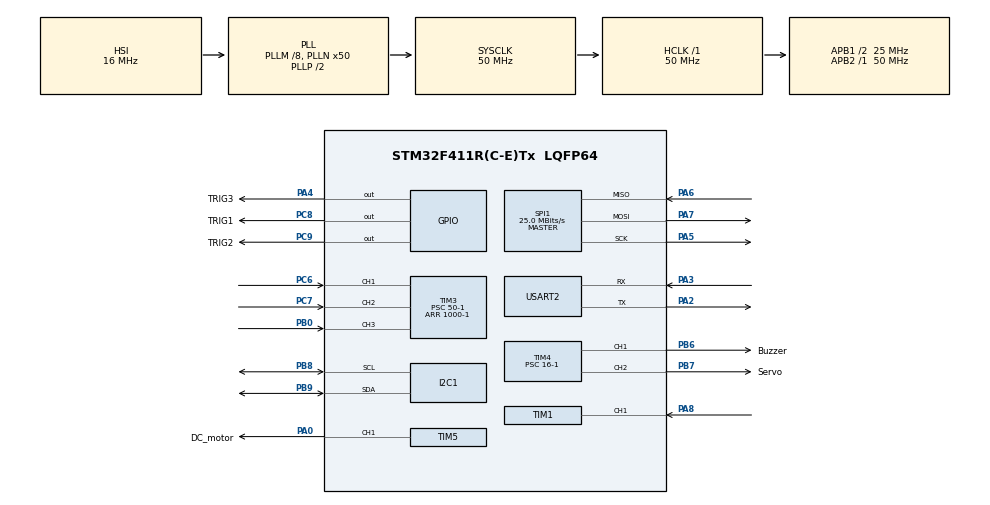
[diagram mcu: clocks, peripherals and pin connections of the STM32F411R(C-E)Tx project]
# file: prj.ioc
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Dma.Request0=TIM3_CH1/TRIG
Dma.Request1=TIM3_CH2
Dma.Request2=TIM3_CH3
Dma.TIM3_CH1/TRIG.0.Direction=DMA_PERIPH_TO_MEMORY
Dma.TIM3_CH1/TRIG.0.FIFOMode=DMA_FIFOMODE_DISABLE
Dma.TIM3_CH1/TRIG.0.Instance=DMA1_Stream4
Dma.TIM3_CH1/TRIG.0.MemDataAlignment=DMA_MDATAALIGN_HALFWORD
Dma.TIM3_CH1/TRIG.0.MemInc=DMA_MINC_ENABLE
Dma.TIM3_CH1/TRIG.0.Mode=DMA_NORMAL
Dma.TIM3_CH1/TRIG.0.PeriphDataAlignment=DMA_PDATAALIGN_HALFWORD
Dma.TIM3_CH1/TRIG.0.PeriphInc=DMA_PINC_DISABLE
Dma.TIM3_CH1/TRIG.0.Priority=DMA_PRIORITY_LOW
Dma.TIM3_CH2.1.Direction=DMA_PERIPH_TO_MEMORY
Dma.TIM3_CH2.1.FIFOMode=DMA_FIFOMODE_DISABLE
Dma.TIM3_CH2.1.Instance=DMA1_Stream5
Dma.TIM3_CH2.1.MemDataAlignment=DMA_MDATAALIGN_HALFWORD
Dma.TIM3_CH2.1.MemInc=DMA_MINC_ENABLE
Dma.TIM3_CH2.1.Mode=DMA_NORMAL
Dma.TIM3_CH2.1.PeriphDataAlignment=DMA_PDATAALIGN_HALFWORD
Dma.TIM3_CH2.1.PeriphInc=DMA_PINC_DISABLE
Dma.TIM3_CH2.1.Priority=DMA_PRIORITY_LOW
Dma.TIM3_CH3.2.Direction=DMA_PERIPH_TO_MEMORY
Dma.TIM3_CH3.2.FIFOMode=DMA_FIFOMODE_DISABLE
Dma.TIM3_CH3.2.Instance=DMA1_Stream7
Dma.TIM3_CH3.2.MemDataAlignment=DMA_MDATAALIGN_HALFWORD
Dma.TIM3_CH3.2.MemInc=DMA_MINC_ENABLE
Dma.TIM3_CH3.2.Mode=DMA_CIRCULAR
Dma.TIM3_CH3.2.PeriphDataAlignment=DMA_PDATAALIGN_HALFWORD
Dma.TIM3_CH3.2.PeriphInc=DMA_PINC_DISABLE
Dma.TIM3_CH3.2.Priority=DMA_PRIORITY_LOW
Mcu.Family=STM32F4
Mcu.Name=STM32F411R(C-E)Tx
Mcu.Package=LQFP64
NVIC.DMA1_Stream4_IRQn=true\:0\:0\:false\:false\:true\:false\:true\:true
NVIC.DMA1_Stream5_IRQn=true\:0\:0\:false\:false\:true\:false\:true\:true
NVIC.DMA1_Stream7_IRQn=true\:0\:0\:false\:false\:true\:false\:true\:true
NVIC.PriorityGroup=NVIC_PRIORITYGROUP_4
NVIC.TIM1_CC_IRQn=true\:0\:0\:false\:false\:true\:true\:true\:true
NVIC.TIM3_IRQn=true\:0\:0\:false\:false\:true\:true\:true\:true
NVIC.USART2_IRQn=true\:0\:0\:false\:false\:true\:true\:true\:true
PA0-WKUP.GPIO_Label=DC_motor
PA0-WKUP.Signal=S_TIM5_CH1
PA2.Mode=Asynchronous
PA2.Signal=USART2_TX
PA3.Mode=Asynchronous
PA3.Signal=USART2_RX
PA4.GPIO_Label=TRIG3
PA4.Signal=GPIO_Output
PA5.Mode=Full_Duplex_Master
PA5.Signal=SPI1_SCK
PA6.Mode=Full_Duplex_Master
PA6.Signal=SPI1_MISO
PA7.Mode=Full_Duplex_Master
PA7.Signal=SPI1_MOSI
PA8.Signal=S_TIM1_CH1
PB0.Signal=S_TIM3_CH3
PB6.GPIO_Label=Buzzer
PB6.Signal=S_TIM4_CH1
PB7.GPIO_Label=Servo
PB7.Signal=S_TIM4_CH2
PB8.Mode=I2C
PB8.Signal=I2C1_SCL
PB9.Mode=I2C
PB9.Signal=I2C1_SDA
PC6.Signal=S_TIM3_CH1
PC7.Signal=S_TIM3_CH2
PC8.GPIO_Label=TRIG1
PC8.Signal=GPIO_Output
PC9.GPIO_Label=TRIG2
PC9.Signal=GPIO_Output
ProjectManager.HeapSize=0x200
ProjectManager.StackSize=0x400
ProjectManager.TargetToolchain=STM32CubeIDE
RCC.48MHZClocksFreq_Value=25000000
RCC.AHBFreq_Value=50000000
RCC.APB1CLKDivider=RCC_HCLK_DIV2
RCC.APB1Freq_Value=25000000
RCC.APB1TimFreq_Value=50000000
RCC.APB2Freq_Value=50000000
RCC.APB2TimFreq_Value=50000000
RCC.CortexFreq_Value=50000000
RCC.HCLKFreq_Value=50000000
RCC.HSE_VALUE=25000000
RCC.HSI_VALUE=16000000
RCC.LSE_VALUE=32768
RCC.PLLM=8
RCC.PLLN=50
RCC.SYSCLKFreq_VALUE=50000000
RCC.SYSCLKSource=RCC_SYSCLKSOURCE_PLLCLK
RCC.VCOOutputFreq_Value=100000000
SH.S_TIM1_CH1.0=TIM1_CH1,Input_Capture1_from_TI1
SH.S_TIM3_CH1.0=TIM3_CH1,Input_Capture1_from_TI1
SH.S_TIM3_CH2.0=TIM3_CH2,Input_Capture2_from_TI2
SH.S_TIM3_CH3.0=TIM3_CH3,Input_Capture3_from_TI3
SH.S_TIM4_CH1.0=TIM4_CH1,PWM Generation1 CH1
SH.S_TIM4_CH2.0=TIM4_CH2,PWM Generation2 CH2
SH.S_TIM5_CH1.0=TIM5_CH1,PWM Generation1 CH1
SPI1.CalculateBaudRate=25.0 MBits/s
SPI1.Direction=SPI_DIRECTION_2LINES
SPI1.Mode=SPI_MODE_MASTER
SPI1.VirtualType=VM_MASTER
TIM1.Channel-Input_Capture1_from_TI1=TIM_CHANNEL_1
TIM10.Prescaler=50-1
TIM2.Prescaler=16-1
TIM3.Channel-Input_Capture1_from_TI1=TIM_CHANNEL_1
TIM3.Channel-Input_Capture2_from_TI2=TIM_CHANNEL_2
TIM3.Channel-Input_Capture3_from_TI3=TIM_CHANNEL_3
TIM3.Period=1000-1
TIM3.Prescaler=50-1
TIM4.Channel-PWM\ Generation1\ CH1=TIM_CHANNEL_1
TIM4.Channel-PWM\ Generation2\ CH2=TIM_CHANNEL_2
TIM4.Prescaler=16-1
TIM5.Channel-PWM\ Generation1\ CH1=TIM_CHANNEL_1
USART2.VirtualMode=VM_ASYNC
VP_TIM10_VS_ClockSourceINT.Mode=Enable_Timer
VP_TIM1_VS_ClockSourceINT.Mode=Internal
VP_TIM2_VS_ClockSourceINT.Mode=Internal
VP_TIM3_VS_ClockSourceINT.Mode=Internal
board=custom

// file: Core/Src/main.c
/* USER CODE BEGIN Header */
/**
  ******************************************************************************
  * @file           : main.c
  * @brief          : Main program body
  ******************************************************************************
  * @attention
  *
  * Copyright (c) 2024 STMicroelectronics.
  * All rights reserved.
  *
  * This software is licensed under terms that can be found in the LICENSE file
  * in the root directory of this software component.
  * If no LICENSE file comes with this software, it is provided AS-IS.
  *
  ******************************************************************************
  */
/* USER CODE END Header */
#include "main.h"

/* USER CODE BEGIN Includes */
#include "uart.h"
#include "stdio.h"
/* USER CODE END Includes */

I2C_HandleTypeDef hi2c1;

SPI_HandleTypeDef hspi1;

TIM_HandleTypeDef htim1;
TIM_HandleTypeDef htim2;
TIM_HandleTypeDef htim3;
TIM_HandleTypeDef htim4;
TIM_HandleTypeDef htim5;
TIM_HandleTypeDef htim10;
DMA_HandleTypeDef hdma_tim3_ch1_trig;
DMA_HandleTypeDef hdma_tim3_ch2;
DMA_HandleTypeDef hdma_tim3_ch3;

UART_HandleTypeDef huart2;

void SystemClock_Config(void);
static void MX_GPIO_Init(void);
static void MX_DMA_Init(void);
static void MX_I2C1_Init(void);
static void MX_SPI1_Init(void);
static void MX_TIM1_Init(void);
static void MX_TIM2_Init(void);
static void MX_TIM4_Init(void);
static void MX_TIM5_Init(void);
static void MX_USART2_UART_Init(void);
static void MX_TIM3_Init(void);
static void MX_TIM10_Init(void);

/* USER CODE BEGIN 0 */
void delayUs(uint16_t time){
	htim10.Instance->CNT = 0;
	while(htim10.Instance->CNT < time);
}

uint32_t IC_Val11 = 0;
uint32_t IC_Val12 = 0;
uint32_t IC_Val21 = 0;
uint32_t IC_Val22 = 0;
uint32_t IC_Val31 = 0;
uint32_t IC_Val32 = 0;
uint32_t Difference1 = 0;
uint32_t Difference2 = 0;
uint32_t Difference3 = 0;
uint8_t IsFirstCaptured1 = 0;
uint8_t IsFirstCaptured2 = 0;
uint8_t IsFirstCaptured3 = 0;
uint32_t Distance1=0;
uint32_t Distance2=0;
uint32_t Distance3=0;
uint8_t value1, value2, value3 = 0;

typedef struct value{
	uint8_t Svalue1;
	uint8_t Svalue2;
	uint8_t Svalue3;
}Svalue_t;

void HAL_TIM_IC_CaptureCallback(TIM_HandleTypeDef *htim){
	if(htim->Channel == HAL_TIM_ACTIVE_CHANNEL_1){
		if(IsFirstCaptured1 == 0){
			IC_Val11 = HAL_TIM_ReadCapturedValue(htim, TIM_CHANNEL_1);
			IsFirstCaptured1 = 1;
			__HAL_TIM_SET_CAPTUREPOLARITY(htim, TIM_CHANNEL_1, TIM_INPUTCHANNELPOLARITY_FALLING);
		}
		else if(IsFirstCaptured1 == 1){
			IC_Val12 = HAL_TIM_ReadCapturedValue(htim, TIM_CHANNEL_1);
			htim->Instance->CNT = 0;
			if(IC_Val12 > IC_Val11) Difference1 = IC_Val12 - IC_Val11;
			else if(IC_Val11> IC_Val12) Difference1 = (0xffff - IC_Val11) + IC_Val12;
			Distance1 = Difference1 * 0.034 / 2;
			IsFirstCaptured1 = 0;

			__HAL_TIM_SET_CAPTUREPOLARITY(htim, TIM_CHANNEL_1, TIM_INPUTCHANNELPOLARITY_RISING);
			__HAL_TIM_DISABLE_IT(htim, TIM_IT_CC1);
		}
	}
	if (htim->Channel == HAL_TIM_ACTIVE_CHANNEL_2) {
		if (IsFirstCaptured2 == 0) {
			IC_Val21 = HAL_TIM_ReadCapturedValue(htim, TIM_CHANNEL_2);
			IsFirstCaptured2 = 1;
			__HAL_TIM_SET_CAPTUREPOLARITY(htim, TIM_CHANNEL_2,TIM_INPUTCHANNELPOLARITY_FALLING);
		} else if (IsFirstCaptured2 == 1) {
			IC_Val22 = HAL_TIM_ReadCapturedValue(htim, TIM_CHANNEL_2);
			htim->Instance->CNT = 0;
			if (IC_Val22 > IC_Val21)
				Difference2 = IC_Val22 - IC_Val21;
			else if (IC_Val21 > IC_Val22)
				Difference2 = (0xffff - IC_Val21) + IC_Val22;
			Distance2 = Difference2 * 0.034 / 2;
			IsFirstCaptured2 = 0;

			__HAL_TIM_SET_CAPTUREPOLARITY(htim, TIM_CHANNEL_2, TIM_INPUTCHANNELPOLARITY_RISING);
			__HAL_TIM_DISABLE_IT(htim, TIM_IT_CC2);
		}
	}
	if (htim->Channel == HAL_TIM_ACTIVE_CHANNEL_3) {
		if (IsFirstCaptured3 == 0) {
			IC_Val31 = HAL_TIM_ReadCapturedValue(htim, TIM_CHANNEL_3);
			IsFirstCaptured3 = 1;
			__HAL_TIM_SET_CAPTUREPOLARITY(htim, TIM_CHANNEL_3,
					TIM_INPUTCHANNELPOLARITY_FALLING);
		} else if (IsFirstCaptured3 == 1) {
			IC_Val32 = HAL_TIM_ReadCapturedValue(htim, TIM_CHANNEL_3);
			htim->Instance->CNT = 0;
			if (IC_Val32 > IC_Val31)
				Difference3 = IC_Val32 - IC_Val31;
			else if (IC_Val31 > IC_Val32)
				Difference3 = (0xffff - IC_Val31) + IC_Val32;
			Distance3 = Difference3 * 0.034 / 2;
			IsFirstCaptured3 = 0;

			__HAL_TIM_SET_CAPTUREPOLARITY(htim, TIM_CHANNEL_3,
					TIM_INPUTCHANNELPOLARITY_RISING);
			__HAL_TIM_DISABLE_IT(htim, TIM_IT_CC3);
		}
	}
}

uint32_t getDistance1(){
	HAL_GPIO_WritePin(TRIG1_GPIO_Port, TRIG1_Pin, 1);
	delayUs(10);
	HAL_GPIO_WritePin(TRIG1_GPIO_Port, TRIG1_Pin, 0);

	__HAL_TIM_ENABLE_IT(&htim3, TIM_IT_CC1);
	return Distance1;
}
uint32_t getDistance2(){
	HAL_GPIO_WritePin(TRIG2_GPIO_Port, TRIG2_Pin, 1);
	delayUs(10);
	HAL_GPIO_WritePin(TRIG2_GPIO_Port, TRIG2_Pin, 0);

	__HAL_TIM_ENABLE_IT(&htim3, TIM_IT_CC2);
	return Distance2;
}
uint32_t getDistance3(){
	HAL_GPIO_WritePin(TRIG3_GPIO_Port, TRIG3_Pin, 1);
	delayUs(10);
	HAL_GPIO_WritePin(TRIG3_GPIO_Port, TRIG3_Pin, 0);

	__HAL_TIM_ENABLE_IT(&htim3, TIM_IT_CC3);
	return Distance3;
}

Svalue_t getDistance(){
	Svalue_t value;
	value.Svalue1 = getDistance1();
	HAL_Delay(10);
	value.Svalue2 = getDistance2();
	HAL_Delay(10);
	value.Svalue3 = getDistance3();
	HAL_Delay(10);
	return value;
}

/*void detectDirection(){
	HAL_GPIO_WritePin(TRIG1_GPIO_Port, TRIG1_Pin, 1);
	HAL_GPIO_WritePin(TRIG2_GPIO_Port, TRIG2_Pin, 1);
	HAL_GPIO_WritePin(TRIG3_GPIO_Port, TRIG3_Pin, 1);
	delayUs(10);
	HAL_GPIO_WritePin(TRIG1_GPIO_Port, TRIG1_Pin, 1);
	HAL_GPIO_WritePin(TRIG2_GPIO_Port, TRIG2_Pin, 1);
	HAL_GPIO_WritePin(TRIG3_GPIO_Port, TRIG3_Pin, 1);

	__HAL_TIM_ENABLE_IT(&htim3, TIM_IT_CC1);
	__HAL_TIM_ENABLE_IT(&htim3, TIM_IT_CC2);
	__HAL_TIM_ENABLE_IT(&htim3, TIM_IT_CC3);
}*/

/* USER CODE END 0 */

int main(void)
{

  /* MCU Configuration--------------------------------------------------------*/

  /* Reset of all peripherals, Initializes the Flash interface and the Systick. */
  HAL_Init();

  /* Configure the system clock */
  SystemClock_Config();

  /* Initialize all configured peripherals */
  MX_GPIO_Init();
  MX_DMA_Init();
  MX_I2C1_Init();
  MX_SPI1_Init();
  MX_TIM1_Init();
  MX_TIM2_Init();
  MX_TIM4_Init();
  MX_TIM5_Init();
  MX_USART2_UART_Init();
  MX_TIM3_Init();
  MX_TIM10_Init();
  /* USER CODE BEGIN 2 */
  initUART(&huart2);
  HAL_TIM_Base_Start(&htim10);
  HAL_TIM_IC_Start_IT(&htim3, TIM_CHANNEL_1);
  HAL_TIM_IC_Start_IT(&htim3, TIM_CHANNEL_2);
  HAL_TIM_IC_Start_IT(&htim3, TIM_CHANNEL_3);
  //HAL_TIM_IC_Start_DMA(&htim3, TIM_CHANNEL_1, (uint32_t*)value1, 100);
  //HAL_TIM_IC_Start_DMA(&htim3, TIM_CHANNEL_2, (uint32_t*)value2, 100);
  //HAL_TIM_IC_Start_DMA(&htim3, TIM_CHANNEL_3, (uint32_t*)value3, 100);

  /* USER CODE END 2 */

  /* Infinite loop */
  /* USER CODE BEGIN WHILE */
  while (1)
  {
	  /*value1 = getDistance1();
	  value2 = getDistance2();
	  value3 = getDistance3();*/
	  //Svalue_t valuetest;
	  //valuetest = getDistance();
	  //printf("out1 : %d\tout2 : %d\tout3 : %d\n", valuetest.Svalue1, valuetest.Svalue2, valuetest.Svalue3);
	  uint16_t vvalue;
	  HAL_Delay(1000);
	  vvalue = getDistance1();
	  printf("out1 : %d" ,vvalue);
    /* USER CODE END WHILE */

  }
}

void SystemClock_Config(void)
{
  RCC_OscInitTypeDef RCC_OscInitStruct = {0};
  RCC_ClkInitTypeDef RCC_ClkInitStruct = {0};

  /** Configure the main internal regulator output voltage
  */
  __HAL_RCC_PWR_CLK_ENABLE();
  __HAL_PWR_VOLTAGESCALING_CONFIG(PWR_REGULATOR_VOLTAGE_SCALE1);

  /** Initializes the RCC Oscillators according to the specified parameters
  * in the RCC_OscInitTypeDef structure.
  */
  RCC_OscInitStruct.OscillatorType = RCC_OSCILLATORTYPE_HSI;
  RCC_OscInitStruct.HSIState = RCC_HSI_ON;
  RCC_OscInitStruct.HSICalibrationValue = RCC_HSICALIBRATION_DEFAULT;
  RCC_OscInitStruct.PLL.PLLState = RCC_PLL_ON;
  RCC_OscInitStruct.PLL.PLLSource = RCC_PLLSOURCE_HSI;
  RCC_OscInitStruct.PLL.PLLM = 8;
  RCC_OscInitStruct.PLL.PLLN = 50;
  RCC_OscInitStruct.PLL.PLLP = RCC_PLLP_DIV2;
  RCC_OscInitStruct.PLL.PLLQ = 4;
  if (HAL_RCC_OscConfig(&RCC_OscInitStruct) != HAL_OK)
  {
    Error_Handler();
  }

  /** Initializes the CPU, AHB and APB buses clocks
  */
  RCC_ClkInitStruct.ClockType = RCC_CLOCKTYPE_HCLK|RCC_CLOCKTYPE_SYSCLK
                              |RCC_CLOCKTYPE_PCLK1|RCC_CLOCKTYPE_PCLK2;
  RCC_ClkInitStruct.SYSCLKSource = RCC_SYSCLKSOURCE_PLLCLK;
  RCC_ClkInitStruct.AHBCLKDivider = RCC_SYSCLK_DIV1;
  RCC_ClkInitStruct.APB1CLKDivider = RCC_HCLK_DIV2;
  RCC_ClkInitStruct.APB2CLKDivider = RCC_HCLK_DIV1;

  if (HAL_RCC_ClockConfig(&RCC_ClkInitStruct, FLASH_LATENCY_1) != HAL_OK)
  {
    Error_Handler();
  }
}

static void MX_I2C1_Init(void)
{

  hi2c1.Instance = I2C1;
  hi2c1.Init.ClockSpeed = 100000;
  hi2c1.Init.DutyCycle = I2C_DUTYCYCLE_2;
  hi2c1.Init.OwnAddress1 = 0;
  hi2c1.Init.AddressingMode = I2C_ADDRESSINGMODE_7BIT;
  hi2c1.Init.DualAddressMode = I2C_DUALADDRESS_DISABLE;
  hi2c1.Init.OwnAddress2 = 0;
  hi2c1.Init.GeneralCallMode = I2C_GENERALCALL_DISABLE;
  hi2c1.Init.NoStretchMode = I2C_NOSTRETCH_DISABLE;
  if (HAL_I2C_Init(&hi2c1) != HAL_OK)
  {
    Error_Handler();
  }

}

static void MX_SPI1_Init(void)
{

  /* SPI1 parameter configuration*/
  hspi1.Instance = SPI1;
  hspi1.Init.Mode = SPI_MODE_MASTER;
  hspi1.Init.Direction = SPI_DIRECTION_2LINES;
  hspi1.Init.DataSize = SPI_DATASIZE_8BIT;
  hspi1.Init.CLKPolarity = SPI_POLARITY_LOW;
  hspi1.Init.CLKPhase = SPI_PHASE_1EDGE;
  hspi1.Init.NSS = SPI_NSS_SOFT;
  hspi1.Init.BaudRatePrescaler = SPI_BAUDRATEPRESCALER_2;
  hspi1.Init.FirstBit = SPI_FIRSTBIT_MSB;
  hspi1.Init.TIMode = SPI_TIMODE_DISABLE;
  hspi1.Init.CRCCalculation = SPI_CRCCALCULATION_DISABLE;
  hspi1.Init.CRCPolynomial = 10;
  if (HAL_SPI_Init(&hspi1) != HAL_OK)
  {
    Error_Handler();
  }

}

static void MX_TIM1_Init(void)
{

  TIM_ClockConfigTypeDef sClockSourceConfig = {0};
  TIM_MasterConfigTypeDef sMasterConfig = {0};
  TIM_IC_InitTypeDef sConfigIC = {0};

  htim1.Instance = TIM1;
  htim1.Init.Prescaler = 0;
  htim1.Init.CounterMode = TIM_COUNTERMODE_UP;
  htim1.Init.Period = 65535;
  htim1.Init.ClockDivision = TIM_CLOCKDIVISION_DIV1;
  htim1.Init.RepetitionCounter = 0;
  htim1.Init.AutoReloadPreload = TIM_AUTORELOAD_PRELOAD_DISABLE;
  if (HAL_TIM_Base_Init(&htim1) != HAL_OK)
  {
    Error_Handler();
  }
  sClockSourceConfig.ClockSource = TIM_CLOCKSOURCE_INTERNAL;
  if (HAL_TIM_ConfigClockSource(&htim1, &sClockSourceConfig) != HAL_OK)
  {
    Error_Handler();
  }
  if (HAL_TIM_IC_Init(&htim1) != HAL_OK)
  {
    Error_Handler();
  }
  sMasterConfig.MasterOutputTrigger = TIM_TRGO_RESET;
  sMasterConfig.MasterSlaveMode = TIM_MASTERSLAVEMODE_DISABLE;
  if (HAL_TIMEx_MasterConfigSynchronization(&htim1, &sMasterConfig) != HAL_OK)
  {
    Error_Handler();
  }
  sConfigIC.ICPolarity = TIM_INPUTCHANNELPOLARITY_RISING;
  sConfigIC.ICSelection = TIM_ICSELECTION_DIRECTTI;
  sConfigIC.ICPrescaler = TIM_ICPSC_DIV1;
  sConfigIC.ICFilter = 0;
  if (HAL_TIM_IC_ConfigChannel(&htim1, &sConfigIC, TIM_CHANNEL_1) != HAL_OK)
  {
    Error_Handler();
  }

}

static void MX_TIM2_Init(void)
{

  TIM_ClockConfigTypeDef sClockSourceConfig = {0};
  TIM_MasterConfigTypeDef sMasterConfig = {0};

  htim2.Instance = TIM2;
  htim2.Init.Prescaler = 16-1;
  htim2.Init.CounterMode = TIM_COUNTERMODE_UP;
  htim2.Init.Period = 4294967295;
  htim2.Init.ClockDivision = TIM_CLOCKDIVISION_DIV1;
  htim2.Init.AutoReloadPreload = TIM_AUTORELOAD_PRELOAD_DISABLE;
  if (HAL_TIM_Base_Init(&htim2) != HAL_OK)
  {
    Error_Handler();
  }
  sClockSourceConfig.ClockSource = TIM_CLOCKSOURCE_INTERNAL;
  if (HAL_TIM_ConfigClockSource(&htim2, &sClockSourceConfig) != HAL_OK)
  {
    Error_Handler();
  }
  sMasterConfig.MasterOutputTrigger = TIM_TRGO_RESET;
  sMasterConfig.MasterSlaveMode = TIM_MASTERSLAVEMODE_DISABLE;
  if (HAL_TIMEx_MasterConfigSynchronization(&htim2, &sMasterConfig) != HAL_OK)
  {
    Error_Handler();
  }

}

static void MX_TIM3_Init(void)
{

  TIM_ClockConfigTypeDef sClockSourceConfig = {0};
  TIM_MasterConfigTypeDef sMasterConfig = {0};
  TIM_IC_InitTypeDef sConfigIC = {0};

  htim3.Instance = TIM3;
  htim3.Init.Prescaler = 50-1;
  htim3.Init.CounterMode = TIM_COUNTERMODE_UP;
  htim3.Init.Period = 1000-1;
  htim3.Init.ClockDivision = TIM_CLOCKDIVISION_DIV1;
  htim3.Init.AutoReloadPreload = TIM_AUTORELOAD_PRELOAD_DISABLE;
  if (HAL_TIM_Base_Init(&htim3) != HAL_OK)
  {
    Error_Handler();
  }
  sClockSourceConfig.ClockSource = TIM_CLOCKSOURCE_INTERNAL;
  if (HAL_TIM_ConfigClockSource(&htim3, &sClockSourceConfig) != HAL_OK)
  {
    Error_Handler();
  }
  if (HAL_TIM_IC_Init(&htim3) != HAL_OK)
  {
    Error_Handler();
  }
  sMasterConfig.MasterOutputTrigger = TIM_TRGO_RESET;
  sMasterConfig.MasterSlaveMode = TIM_MASTERSLAVEMODE_DISABLE;
  if (HAL_TIMEx_MasterConfigSynchronization(&htim3, &sMasterConfig) != HAL_OK)
  {
    Error_Handler();
  }
  sConfigIC.ICPolarity = TIM_INPUTCHANNELPOLARITY_RISING;
  sConfigIC.ICSelection = TIM_ICSELECTION_DIRECTTI;
  sConfigIC.ICPrescaler = TIM_ICPSC_DIV1;
  sConfigIC.ICFilter = 0;
  if (HAL_TIM_IC_ConfigChannel(&htim3, &sConfigIC, TIM_CHANNEL_1) != HAL_OK)
  {
    Error_Handler();
  }
  if (HAL_TIM_IC_ConfigChannel(&htim3, &sConfigIC, TIM_CHANNEL_2) != HAL_OK)
  {
    Error_Handler();
  }
  if (HAL_TIM_IC_ConfigChannel(&htim3, &sConfigIC, TIM_CHANNEL_3) != HAL_OK)
  {
    Error_Handler();
  }

}

static void MX_TIM4_Init(void)
{

  TIM_MasterConfigTypeDef sMasterConfig = {0};
  TIM_OC_InitTypeDef sConfigOC = {0};

  htim4.Instance = TIM4;
  htim4.Init.Prescaler = 16-1;
  htim4.Init.CounterMode = TIM_COUNTERMODE_UP;
  htim4.Init.Period = 65535;
  htim4.Init.ClockDivision = TIM_CLOCKDIVISION_DIV1;
  htim4.Init.AutoReloadPreload = TIM_AUTORELOAD_PRELOAD_DISABLE;
  if (HAL_TIM_PWM_Init(&htim4) != HAL_OK)
  {
    Error_Handler();
  }
  sMasterConfig.MasterOutputTrigger = TIM_TRGO_RESET;
  sMasterConfig.MasterSlaveMode = TIM_MASTERSLAVEMODE_DISABLE;
  if (HAL_TIMEx_MasterConfigSynchronization(&htim4, &sMasterConfig) != HAL_OK)
  {
    Error_Handler();
  }
  sConfigOC.OCMode = TIM_OCMODE_PWM1;
  sConfigOC.Pulse = 0;
  sConfigOC.OCPolarity = TIM_OCPOLARITY_HIGH;
  sConfigOC.OCFastMode = TIM_OCFAST_DISABLE;
  if (HAL_TIM_PWM_ConfigChannel(&htim4, &sConfigOC, TIM_CHANNEL_1) != HAL_OK)
  {
    Error_Handler();
  }
  if (HAL_TIM_PWM_ConfigChannel(&htim4, &sConfigOC, TIM_CHANNEL_2) != HAL_OK)
  {
    Error_Handler();
  }
  HAL_TIM_MspPostInit(&htim4);

}

static void MX_TIM5_Init(void)
{

  TIM_MasterConfigTypeDef sMasterConfig = {0};
  TIM_OC_InitTypeDef sConfigOC = {0};

  htim5.Instance = TIM5;
  htim5.Init.Prescaler = 0;
  htim5.Init.CounterMode = TIM_COUNTERMODE_UP;
  htim5.Init.Period = 4294967295;
  htim5.Init.ClockDivision = TIM_CLOCKDIVISION_DIV1;
  htim5.Init.AutoReloadPreload = TIM_AUTORELOAD_PRELOAD_DISABLE;
  if (HAL_TIM_PWM_Init(&htim5) != HAL_OK)
  {
    Error_Handler();
  }
  sMasterConfig.MasterOutputTrigger = TIM_TRGO_RESET;
  sMasterConfig.MasterSlaveMode = TIM_MASTERSLAVEMODE_DISABLE;
  if (HAL_TIMEx_MasterConfigSynchronization(&htim5, &sMasterConfig) != HAL_OK)
  {
    Error_Handler();
  }
  sConfigOC.OCMode = TIM_OCMODE_PWM1;
  sConfigOC.Pulse = 0;
  sConfigOC.OCPolarity = TIM_OCPOLARITY_HIGH;
  sConfigOC.OCFastMode = TIM_OCFAST_DISABLE;
  if (HAL_TIM_PWM_ConfigChannel(&htim5, &sConfigOC, TIM_CHANNEL_1) != HAL_OK)
  {
    Error_Handler();
  }
  HAL_TIM_MspPostInit(&htim5);

}

static void MX_TIM10_Init(void)
{

  htim10.Instance = TIM10;
  htim10.Init.Prescaler = 50-1;
  htim10.Init.CounterMode = TIM_COUNTERMODE_UP;
  htim10.Init.Period = 65535;
  htim10.Init.ClockDivision = TIM_CLOCKDIVISION_DIV1;
  htim10.Init.AutoReloadPreload = TIM_AUTORELOAD_PRELOAD_DISABLE;
  if (HAL_TIM_Base_Init(&htim10) != HAL_OK)
  {
    Error_Handler();
  }

}

static void MX_USART2_UART_Init(void)
{

  huart2.Instance = USART2;
  huart2.Init.BaudRate = 115200;
  huart2.Init.WordLength = UART_WORDLENGTH_8B;
  huart2.Init.StopBits = UART_STOPBITS_1;
  huart2.Init.Parity = UART_PARITY_NONE;
  huart2.Init.Mode = UART_MODE_TX_RX;
  huart2.Init.HwFlowCtl = UART_HWCONTROL_NONE;
  huart2.Init.OverSampling = UART_OVERSAMPLING_16;
  if (HAL_UART_Init(&huart2) != HAL_OK)
  {
    Error_Handler();
  }

}

static void MX_DMA_Init(void)
{

  /* DMA controller clock enable */
  __HAL_RCC_DMA1_CLK_ENABLE();

  /* DMA interrupt init */
  /* DMA1_Stream4_IRQn interrupt configuration */
  HAL_NVIC_SetPriority(DMA1_Stream4_IRQn, 0, 0);
  HAL_NVIC_EnableIRQ(DMA1_Stream4_IRQn);
  /* DMA1_Stream5_IRQn interrupt configuration */
  HAL_NVIC_SetPriority(DMA1_Stream5_IRQn, 0, 0);
  HAL_NVIC_EnableIRQ(DMA1_Stream5_IRQn);
  /* DMA1_Stream7_IRQn interrupt configuration */
  HAL_NVIC_SetPriority(DMA1_Stream7_IRQn, 0, 0);
  HAL_NVIC_EnableIRQ(DMA1_Stream7_IRQn);

}

static void MX_GPIO_Init(void)
{
  GPIO_InitTypeDef GPIO_InitStruct = {0};

  /* GPIO Ports Clock Enable */
  __HAL_RCC_GPIOA_CLK_ENABLE();
  __HAL_RCC_GPIOB_CLK_ENABLE();
  __HAL_RCC_GPIOC_CLK_ENABLE();

  /*Configure GPIO pin Output Level */
  HAL_GPIO_WritePin(TRIG3_GPIO_Port, TRIG3_Pin, GPIO_PIN_RESET);

  /*Configure GPIO pin Output Level */
  HAL_GPIO_WritePin(GPIOC, TRIG1_Pin|TRIG2_Pin, GPIO_PIN_RESET);

  /*Configure GPIO pin : TRIG3_Pin */
  GPIO_InitStruct.Pin = TRIG3_Pin;
  GPIO_InitStruct.Mode = GPIO_MODE_OUTPUT_PP;
  GPIO_InitStruct.Pull = GPIO_NOPULL;
  GPIO_InitStruct.Speed = GPIO_SPEED_FREQ_LOW;
  HAL_GPIO_Init(TRIG3_GPIO_Port, &GPIO_InitStruct);

  /*Configure GPIO pins : TRIG1_Pin TRIG2_Pin */
  GPIO_InitStruct.Pin = TRIG1_Pin|TRIG2_Pin;
  GPIO_InitStruct.Mode = GPIO_MODE_OUTPUT_PP;
  GPIO_InitStruct.Pull = GPIO_NOPULL;
  GPIO_InitStruct.Speed = GPIO_SPEED_FREQ_LOW;
  HAL_GPIO_Init(GPIOC, &GPIO_InitStruct);

}

void Error_Handler(void)
{
  __disable_irq();
  while (1)
  {
  }
}
